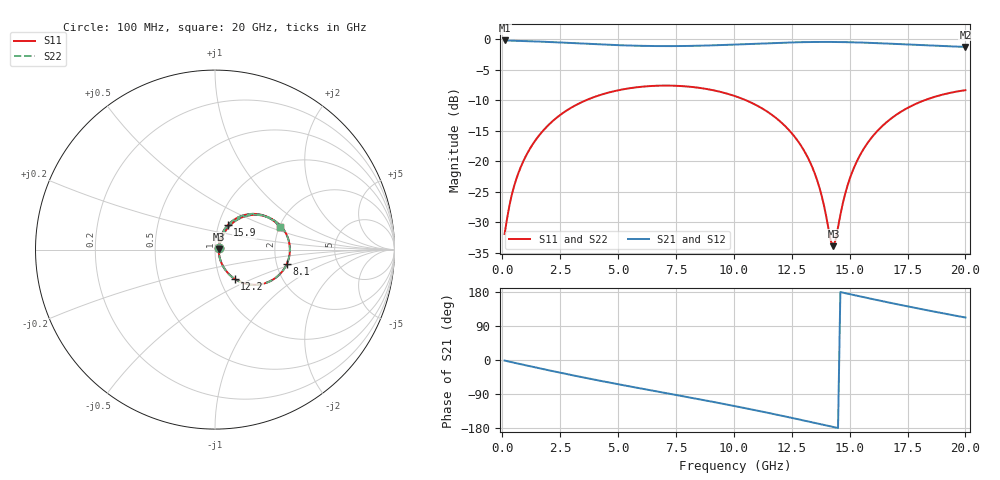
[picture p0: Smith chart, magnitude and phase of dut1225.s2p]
! Touchstone file exported from HFSS 2026.1.0
!  File:  C:/ffzhzh/LocalFiles/Ansys_Project_Files/temp_train_TSV_RDL_1225_1783321643_38704.aedt
!  Generated:  03:21:37 PM Jul  6, 2026
!  Design:  TSV_RDL
!  Project:  temp_train_TSV_RDL_1225_1783321643_38704
! Variables:
!  h_bsmrdl = 2.43um
!  h_ox = 20um
!  h_rdl = 5um
!  h_sub = 66.33um
!  h_tmrdl = 2.93um
!  h_tsv = 66.33um
!  h_via = 3um
!  l_bsmrdl = 597.08um
!  l_sub = 4241.21um
!  l_tmrdl = 472.81um
!  m_sub = 200um
!  pitch = 42.22um
!  r_tsv = 4.24um
!  s_tmrdl = 10um
!  w_bsmrdl = 28.24um
!  w_sub = 500um
!  w_tmrdl = 24.67um
!  x_tsv_center1 = 485.145um
!  x_tsv_center2 = 1110.465um
!  x_tsv_center3 = 1607.945um
!  x_tsv_center4 = 2233.265um
!  x_tsv_center5 = 2730.745um
!  x_tsv_center6 = 3356.065um
# GHz S MA R 50.000000
! Terminal data exported
! Port[1] = TM_RDL1_1_T1
! Port[2] = TM_RDL5_1_T1
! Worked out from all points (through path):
!   200 points, 100 MHz to 20 GHz, reference 50 ohm
!   highest |S21| = -0.20 dB at 100 MHz (marker M1); lowest = -1.2 dB at 20 GHz (marker M2)
!   group delay of S21, straight-line fit = 34.2 ps
!   lowest |S11| = -33.9 dB at 14.3 GHz (marker M3), VSWR 1.04, Z = 52.1 + j0.147 ohm
!   |S11| at or under -10 dB: start of sweep to 3.611 GHz; 10.52 GHz to 18.23 GHz (7.708 GHz wide, 53.6 % of centre)
!   |S22| runs from -34.0 to -7.6 dB; largest |S21 - S12| = 1.7e-14
!   S11 on the Smith chart (normalised r, x): 100 MHz: 1.05, +0.02; 8.1 GHz: 2.28, -0.43; 12.2 GHz: 1.17, -0.40; 15.9 GHz: 1.11, +0.31; 20 GHz: 2.01, +0.60
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0.1  0.02539 27.2  0.9777 -1.5  0.9777 -1.5  0.02539 27.2
! Gamma 0 0 0 0
! Port Impedance 50 0 50 0
0.5  0.0617 57.5  0.972 -7.1  0.972 -7.1  0.0617 57.5
1.2  0.1274 60.3  0.9631 -16.5  0.9631 -16.5  0.1274 60.3
2.2  0.2157 52.4  0.9467 -29.7  0.9467 -29.7  0.2157 52.4
3.5  0.3096 38.6  0.9209 -46.1  0.9209 -46.1  0.3096 38.6
5.1  0.3851 21.1  0.8931 -65.1  0.8931 -65.1  0.3851 21.1
6.8  0.4168 2.8  0.8791 -84.4  0.8791 -84.4  0.4168 2.8
8.1  0.4084 -11.1  0.882 -99.0  0.882 -99.0  0.4084 -11.2
10.1  0.3397 -33.1  0.906 -122.4  0.906 -122.4  0.3396 -33.1
12.2  0.1957 -56.2  0.939 -148.8  0.939 -148.8  0.1957 -56.2
12.9  0.1344 -62.4  0.9465 -158.0  0.9465 -158.0  0.1343 -62.5
13.4  0.08834 -64.3  0.9497 -164.7  0.9497 -164.7  0.08828 -64.5
13.8  0.0516 -59.8  0.9508 -170.1  0.9508 -170.1  0.05151 -60.0
14.2  0.0219 -21.0  0.9504 -175.5  0.9504 -175.5  0.0217 -21.3
14.3  0.02018 4.0  0.9501 -176.8  0.9501 -176.8  0.01997 4.1
14.7  0.04473 58.7  0.948 177.8  0.948 177.8  0.04464 59.0
15  0.07152 65.3  0.9455 173.8  0.9455 173.8  0.07147 65.4
15.4  0.1079 65.7  0.9412 168.5  0.9412 168.5  0.1079 65.8
15.9  0.1521 62.5  0.9342 161.9  0.9342 161.9  0.1521 62.5
16.7  0.2173 54.8  0.9205 151.6  0.9205 151.6  0.2173 54.8
18.2  0.3145 38.6  0.8922 133.1  0.8922 133.1  0.3145 38.6
20  0.3826 19.3  0.8664 112.1  0.8664 112.1  0.3826 19.2
